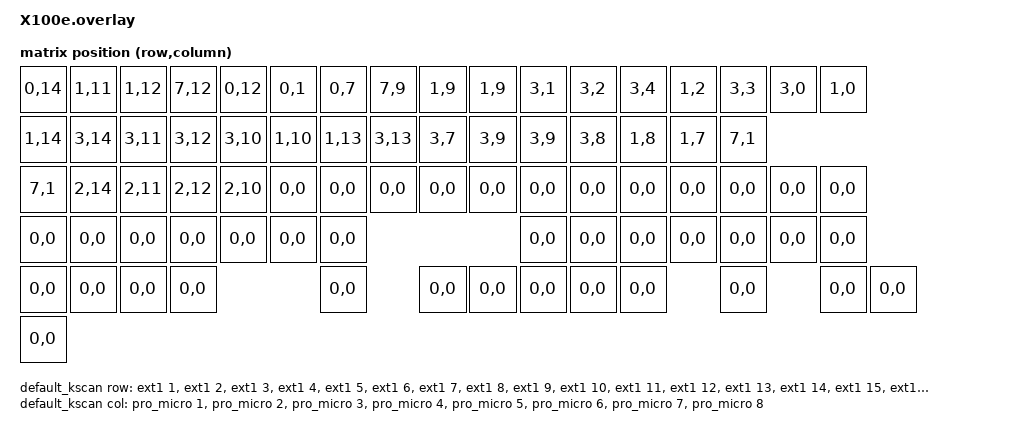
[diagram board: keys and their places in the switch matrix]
#include <dt-bindings/zmk/matrix_transform.h>

/ {
    chosen {
        zmk,kscan = &default_kscan;
        zmk,matrix-transform = &default_transform;
    };



    default_kscan: kscan  {
        compatible = "zmk,kscan-gpio-matrix";
        diode-direction = "row2col";
        col-gpios
            = <&pro_micro 1 GPIO_ACTIVE_LOW> # 19 0
            , <&pro_micro 2 GPIO_ACTIVE_LOW> # 22 1
            , <&pro_micro 3 GPIO_ACTIVE_LOW> # 23 2
            , <&pro_micro 4 GPIO_ACTIVE_LOW> # 25 3
            , <&pro_micro 5 GPIO_ACTIVE_LOW> # 26 4
            , <&pro_micro 6 GPIO_ACTIVE_LOW> # 28 5
            , <&pro_micro 7 GPIO_ACTIVE_LOW> # 29 6
            , <&pro_micro 8 GPIO_ACTIVE_LOW> # 30 7
            ;
        row-gpios
            = <&ext1 1 (GPIO_ACTIVE_LOW | GPIO_PULL_UP)> #07 0
            , <&ext1 2 (GPIO_ACTIVE_LOW | GPIO_PULL_UP)> #08 1
            , <&ext1 3 (GPIO_ACTIVE_LOW | GPIO_PULL_UP)> #09 2
            , <&ext1 4 (GPIO_ACTIVE_LOW | GPIO_PULL_UP)> #10 3
            , <&ext1 5 (GPIO_ACTIVE_LOW | GPIO_PULL_UP)> #11 4
            , <&ext1 6 (GPIO_ACTIVE_LOW | GPIO_PULL_UP)> #12 5
            , <&ext1 7 (GPIO_ACTIVE_LOW | GPIO_PULL_UP)> #13 6
            , <&ext1 8 (GPIO_ACTIVE_LOW | GPIO_PULL_UP)> #14 7
            , <&ext1 9 (GPIO_ACTIVE_LOW | GPIO_PULL_UP)> #15 8
            , <&ext1 10 (GPIO_ACTIVE_LOW | GPIO_PULL_UP)> #16 9
            , <&ext1 11 (GPIO_ACTIVE_LOW | GPIO_PULL_UP)> #17 10
            , <&ext1 12 (GPIO_ACTIVE_LOW | GPIO_PULL_UP)> #18 11
            , <&ext1 13 (GPIO_ACTIVE_LOW | GPIO_PULL_UP)> #20 12
            , <&ext1 14 (GPIO_ACTIVE_LOW | GPIO_PULL_UP)> #21 13
            , <&ext1 15 (GPIO_ACTIVE_LOW | GPIO_PULL_UP)> #24 14
            , <&ext1 16 (GPIO_ACTIVE_LOW | GPIO_PULL_UP)> #27 15
            ;

    };



    default_transform: matrix_transform {
        compatible = "zmk,matrix-transform";
        rows = <8>;
        columns = <16>;

        map = <
        RC(0,14)   RC(1,11)    RC(1,12)    RC(7,12)    RC(0,12)    RC(0,1)     RC(0,7)     RC(7,9)     RC(1,9)     RC(1,9)     RC(3,1)     RC(3,2)     RC(3,4)     RC(1,2)    RC(3,3)     RC(3,0)     RC(1,0) 
        RC(1,14)   RC(3,14)    RC(3,11)    RC(3,12)    RC(3,10)    RC(1,10)    RC(1,13)    RC(3,13)    RC(3,7)     RC(3,9)     RC(3,9)    RC(3,8)     RC(1,8)      RC(1,7)    RC(7,1)    
        RC(7,1)    RC(2,14)    RC(2,11)    RC(2,12)    RC(2,10)     RC(0,0)     RC(0,0)     RC(0,0)     RC(0,0)     RC(0,0)    RC(0,0)     RC(0,0)     RC(0,0)                 RC(0,0)     RC(0,0)     RC(0,0)     RC(0,0)
        RC(0,0)    RC(0,0)     RC(0,0)     RC(0,0)     RC(0,0)     RC(0,0)     RC(0,0)     RC(0,0)     RC(0,0)     RC(0,0)     RC(0,0)                                         RC(0,0)     RC(0,0)     RC(0,0)
        RC(0,0)    RC(0,0)    RC(0,0)    RC(0,0)                             RC(0,0)                 RC(0,0)     RC(0,0)     RC(0,0)     RC(0,0)     RC(0,0)                 RC(0,0)                 RC(0,0)     RC(0,0)
        RC(0,0)
        >;
    };

};
